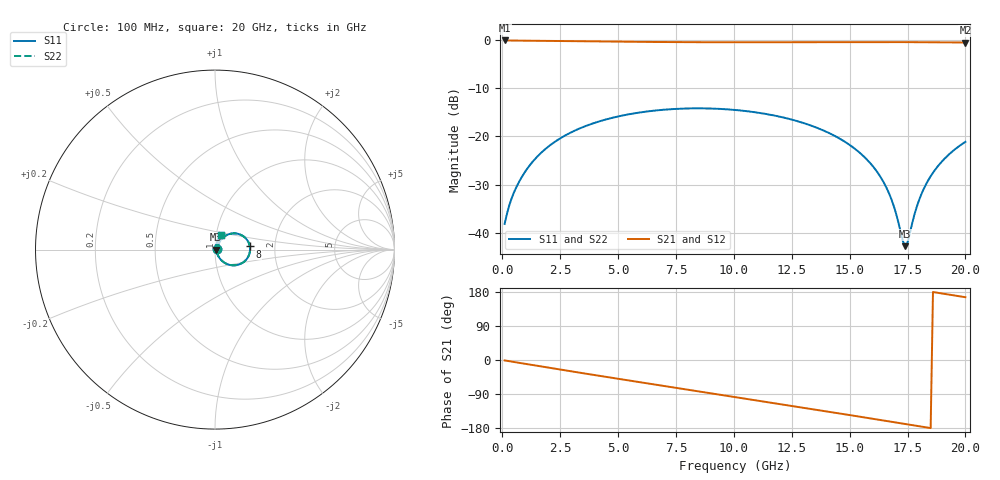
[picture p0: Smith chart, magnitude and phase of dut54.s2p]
! Touchstone file exported from HFSS 2026.1.0
!  File:  C:/ffzhzh/LocalFiles/Ansys_Project_Files/temp_train_TSV_RDL_54_1782967273_6388.aedt
!  Generated:  12:50:34 PM Jul  2, 2026
!  Design:  TSV_RDL
!  Project:  temp_train_TSV_RDL_54_1782967273_6388
! Variables:
!  h_bsmrdl = 3.56um
!  h_ox = 20um
!  h_rdl = 5um
!  h_sub = 70.05um
!  h_tmrdl = 5.73um
!  h_tsv = 70.05um
!  h_via = 3um
!  l_bsmrdl = 450.84um
!  l_sub = 3193.59um
!  l_tmrdl = 327.5um
!  m_sub = 200um
!  pitch = 34.07um
!  r_tsv = 12.13um
!  s_tmrdl = 10um
!  w_bsmrdl = 21.82um
!  w_sub = 500um
!  w_tmrdl = 21.87um
!  x_tsv_center1 = 338.435um
!  x_tsv_center2 = 811.095um
!  x_tsv_center3 = 1160.465um
!  x_tsv_center4 = 1633.125um
!  x_tsv_center5 = 1982.495um
!  x_tsv_center6 = 2455.155um
# GHz S MA R 50.000000
! Terminal data exported
! Port[1] = TM_RDL1_1_T1
! Port[2] = TM_RDL5_1_T1
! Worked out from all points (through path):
!   200 points, 100 MHz to 20 GHz, reference 50 ohm
!   highest |S21| = -0.10 dB at 100 MHz (marker M1); lowest = -0.5 dB at 20 GHz (marker M2)
!   group delay of S21, straight-line fit = 26.8 ps
!   lowest |S11| = -42.8 dB at 17.4 GHz (marker M3), VSWR 1.01, Z = 50.7 + j0.0445 ohm
!   |S11| at or under -10 dB: start of sweep to end of sweep
!   |S22| runs from -42.6 to -14.2 dB; largest |S21 - S12| = 5e-14
!   S11 on the Smith chart (normalised r, x): 100 MHz: 1.02, +0.01; 8 GHz: 1.48, +0.05; 20 GHz: 1.06, +0.17
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0.1  0.01237 24.3  0.9888 -1.1  0.9888 -1.1  0.01237 24.3
! Gamma 0 0 0 0
! Port Impedance 50 0 50 0
0.3  0.01925 44.4  0.9869 -3.2  0.9869 -3.2  0.01925 44.4
0.5  0.02611 51.8  0.9855 -5.2  0.9855 -5.2  0.02611 51.8
1.3  0.05426 59.2  0.9821 -13.2  0.9821 -13.2  0.05426 59.2
2.3  0.08891 54.6  0.977 -23.2  0.977 -23.2  0.08891 54.6
3.5  0.1254 45.1  0.9697 -35.0  0.9697 -35.0  0.1254 45.1
5.2  0.1649 30.2  0.9598 -51.5  0.9598 -51.5  0.1649 30.2
6.8  0.1876 15.9  0.9526 -66.7  0.9526 -66.7  0.1876 15.9
8  0.1949 5.2  0.9492 -78.1  0.9492 -78.1  0.1949 5.2
10.1  0.1877 -13.7  0.9473 -98.0  0.9473 -98.0  0.1877 -13.7
11.7  0.1655 -28.0  0.9484 -113.3  0.9484 -113.3  0.1655 -28.0
13.4  0.1279 -43.0  0.9507 -129.7  0.9507 -129.7  0.1279 -43.0
14.6  0.09402 -53.1  0.9519 -141.4  0.9519 -141.4  0.09401 -53.1
15.5  0.06569 -59.7  0.9522 -150.2  0.9522 -150.2  0.06568 -59.6
16.2  0.04251 -62.9  0.9519 -157.1  0.9519 -157.1  0.0425 -62.7
16.7  0.02575 -61.1  0.9514 -162.0  0.9514 -162.0  0.02576 -60.8
17.4  0.007277 3.5  0.9502 -168.9  0.9502 -168.9  0.007405 3.7
17.5  0.007939 28.6  0.95 -169.8  0.95 -169.8  0.008069 28.4
18  0.02189 70.8  0.9487 -174.8  0.9487 -174.8  0.02196 70.5
18.4  0.03526 74.5  0.9475 -178.7  0.9475 -178.7  0.03532 74.3
19.1  0.05876 72.7  0.9451 174.5  0.9451 174.5  0.05881 72.5
20  0.08784 66.5  0.9414 165.7  0.9414 165.7  0.08788 66.4
